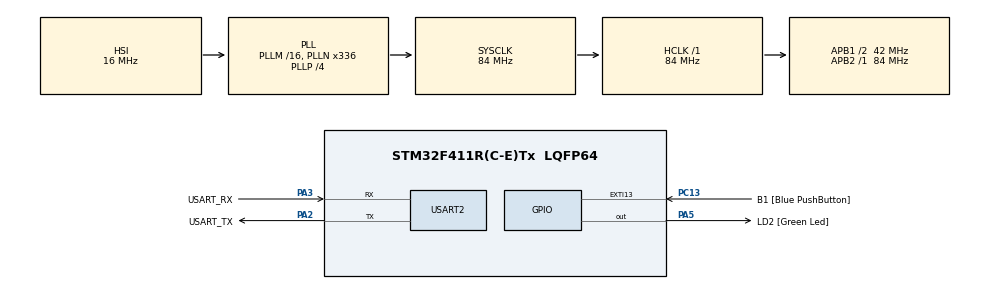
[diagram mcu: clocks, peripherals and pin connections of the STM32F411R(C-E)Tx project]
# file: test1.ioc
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Mcu.Family=STM32F4
Mcu.Name=STM32F411R(C-E)Tx
Mcu.Package=LQFP64
NVIC.PriorityGroup=NVIC_PRIORITYGROUP_0
NVIC.USART2_IRQn=true\:0\:0\:false\:false\:true\:true\:true\:true
PA13.GPIO_Label=TMS
PA13.Mode=Serial_Wire
PA13.Signal=SYS_JTMS-SWDIO
PA14.GPIO_Label=TCK
PA14.Mode=Serial_Wire
PA14.Signal=SYS_JTCK-SWCLK
PA2.GPIO_Label=USART_TX
PA2.Mode=Asynchronous
PA2.Signal=USART2_TX
PA3.GPIO_Label=USART_RX
PA3.Mode=Asynchronous
PA3.Signal=USART2_RX
PA5.GPIO_Label=LD2 [Green Led]
PA5.Signal=GPIO_Output
PB3.GPIO_Label=SWO
PB3.Signal=SYS_JTDO-SWO
PC13-ANTI_TAMP.GPIO_Label=B1 [Blue PushButton]
PC13-ANTI_TAMP.GPIO_ModeDefaultEXTI=GPIO_MODE_IT_FALLING
PC13-ANTI_TAMP.Signal=GPXTI13
PC14-OSC32_IN.Mode=LSE-External-Oscillator
PC14-OSC32_IN.Signal=RCC_OSC32_IN
PC15-OSC32_OUT.Mode=LSE-External-Oscillator
PC15-OSC32_OUT.Signal=RCC_OSC32_OUT
PH0\ -\ OSC_IN.Mode=HSE-External-Clock-Source
PH0\ -\ OSC_IN.Signal=RCC_OSC_IN
PH1\ -\ OSC_OUT.Mode=HSE-External-Clock-Source
PH1\ -\ OSC_OUT.Signal=RCC_OSC_OUT
ProjectManager.HeapSize=0x200
ProjectManager.StackSize=0x400
ProjectManager.TargetToolchain=STM32CubeIDE
RCC.48MHZClocksFreq_Value=84000000
RCC.AHBFreq_Value=84000000
RCC.APB1CLKDivider=RCC_HCLK_DIV2
RCC.APB1Freq_Value=42000000
RCC.APB1TimFreq_Value=84000000
RCC.APB2Freq_Value=84000000
RCC.APB2TimFreq_Value=84000000
RCC.CortexFreq_Value=84000000
RCC.FLatency-AdvancedSettings=FLASH_LATENCY_2
RCC.HCLKFreq_Value=84000000
RCC.HSE_VALUE=8000000
RCC.HSI_VALUE=16000000
RCC.PLLN=336
RCC.PLLP=RCC_PLLP_DIV4
RCC.SYSCLKFreq_VALUE=84000000
RCC.SYSCLKSource=RCC_SYSCLKSOURCE_PLLCLK
RCC.VCOOutputFreq_Value=336000000
USART2.VirtualMode=VM_ASYNC
board=NUCLEO-F411RE

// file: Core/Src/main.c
/* USER CODE BEGIN Header */
/**
  ******************************************************************************
  * @file           : main.c
  * @brief          : Main program body
  ******************************************************************************
  * @attention
  *
  * Copyright (c) 2023 STMicroelectronics.
  * All rights reserved.
  *
  * This software is licensed under terms that can be found in the LICENSE file
  * in the root directory of this software component.
  * If no LICENSE file comes with this software, it is provided AS-IS.
  *
  ******************************************************************************
  */
/* USER CODE END Header */
#include "main.h"

UART_HandleTypeDef huart2;

void SystemClock_Config(void);
static void MX_GPIO_Init(void);
static void MX_USART2_UART_Init(void);

/* USER CODE BEGIN 0 */
int iter = 0;
char text;
char memo[32];

/* USER CODE END 0 */

int main(void)
{

  /* MCU Configuration--------------------------------------------------------*/

  /* Reset of all peripherals, Initializes the Flash interface and the Systick. */
  HAL_Init();

  /* Configure the system clock */
  SystemClock_Config();

  /* Initialize all configured peripherals */
  MX_GPIO_Init();
  MX_USART2_UART_Init();
  /* USER CODE BEGIN 2 */
  HAL_UART_Receive_IT(&huart2, &text, 1);

  /* USER CODE END 2 */

  /* Infinite loop */
  while (1)
  {
	  HAL_GPIO_TogglePin(GPIOA, GPIO_PIN_5);
	  HAL_Delay(100);

  }
}

void SystemClock_Config(void)
{
  RCC_OscInitTypeDef RCC_OscInitStruct = {0};
  RCC_ClkInitTypeDef RCC_ClkInitStruct = {0};

  /** Configure the main internal regulator output voltage
  */
  __HAL_RCC_PWR_CLK_ENABLE();
  __HAL_PWR_VOLTAGESCALING_CONFIG(PWR_REGULATOR_VOLTAGE_SCALE1);

  /** Initializes the RCC Oscillators according to the specified parameters
  * in the RCC_OscInitTypeDef structure.
  */
  RCC_OscInitStruct.OscillatorType = RCC_OSCILLATORTYPE_HSI;
  RCC_OscInitStruct.HSIState = RCC_HSI_ON;
  RCC_OscInitStruct.HSICalibrationValue = RCC_HSICALIBRATION_DEFAULT;
  RCC_OscInitStruct.PLL.PLLState = RCC_PLL_ON;
  RCC_OscInitStruct.PLL.PLLSource = RCC_PLLSOURCE_HSI;
  RCC_OscInitStruct.PLL.PLLM = 16;
  RCC_OscInitStruct.PLL.PLLN = 336;
  RCC_OscInitStruct.PLL.PLLP = RCC_PLLP_DIV4;
  RCC_OscInitStruct.PLL.PLLQ = 4;
  if (HAL_RCC_OscConfig(&RCC_OscInitStruct) != HAL_OK)
  {
    Error_Handler();
  }

  /** Initializes the CPU, AHB and APB buses clocks
  */
  RCC_ClkInitStruct.ClockType = RCC_CLOCKTYPE_HCLK|RCC_CLOCKTYPE_SYSCLK
                              |RCC_CLOCKTYPE_PCLK1|RCC_CLOCKTYPE_PCLK2;
  RCC_ClkInitStruct.SYSCLKSource = RCC_SYSCLKSOURCE_PLLCLK;
  RCC_ClkInitStruct.AHBCLKDivider = RCC_SYSCLK_DIV1;
  RCC_ClkInitStruct.APB1CLKDivider = RCC_HCLK_DIV2;
  RCC_ClkInitStruct.APB2CLKDivider = RCC_HCLK_DIV1;

  if (HAL_RCC_ClockConfig(&RCC_ClkInitStruct, FLASH_LATENCY_2) != HAL_OK)
  {
    Error_Handler();
  }
}

static void MX_USART2_UART_Init(void)
{

  huart2.Instance = USART2;
  huart2.Init.BaudRate = 115200;
  huart2.Init.WordLength = UART_WORDLENGTH_8B;
  huart2.Init.StopBits = UART_STOPBITS_1;
  huart2.Init.Parity = UART_PARITY_NONE;
  huart2.Init.Mode = UART_MODE_TX_RX;
  huart2.Init.HwFlowCtl = UART_HWCONTROL_NONE;
  huart2.Init.OverSampling = UART_OVERSAMPLING_16;
  if (HAL_UART_Init(&huart2) != HAL_OK)
  {
    Error_Handler();
  }

}

static void MX_GPIO_Init(void)
{
  GPIO_InitTypeDef GPIO_InitStruct = {0};

  /* GPIO Ports Clock Enable */
  __HAL_RCC_GPIOC_CLK_ENABLE();
  __HAL_RCC_GPIOH_CLK_ENABLE();
  __HAL_RCC_GPIOA_CLK_ENABLE();
  __HAL_RCC_GPIOB_CLK_ENABLE();

  /*Configure GPIO pin Output Level */
  HAL_GPIO_WritePin(LD2_GPIO_Port, LD2_Pin, GPIO_PIN_RESET);

  /*Configure GPIO pin : B1_Pin */
  GPIO_InitStruct.Pin = B1_Pin;
  GPIO_InitStruct.Mode = GPIO_MODE_IT_FALLING;
  GPIO_InitStruct.Pull = GPIO_NOPULL;
  HAL_GPIO_Init(B1_GPIO_Port, &GPIO_InitStruct);

  /*Configure GPIO pin : LD2_Pin */
  GPIO_InitStruct.Pin = LD2_Pin;
  GPIO_InitStruct.Mode = GPIO_MODE_OUTPUT_PP;
  GPIO_InitStruct.Pull = GPIO_NOPULL;
  GPIO_InitStruct.Speed = GPIO_SPEED_FREQ_LOW;
  HAL_GPIO_Init(LD2_GPIO_Port, &GPIO_InitStruct);

}

/* USER CODE BEGIN 4 */
void HAL_UART_RxCpltCallback(UART_HandleTypeDef *huart){
	if(huart->Instance == USART2){
		if(text == '\n' || text == '\r'){
			while(iter){
				HAL_UART_Transmit(&huart2, &memo[iter-1], 1, 100);
				iter--;
			}

		}else{
			HAL_UART_Transmit(&huart2, &text, 1, 100);
			memo[iter] = text;
			iter++;
		}
	}
	HAL_UART_Receive_IT(&huart2, &text, 1);

}

/* USER CODE END 4 */

void Error_Handler(void)
{
  __disable_irq();
  while (1)
  {
  }
}
